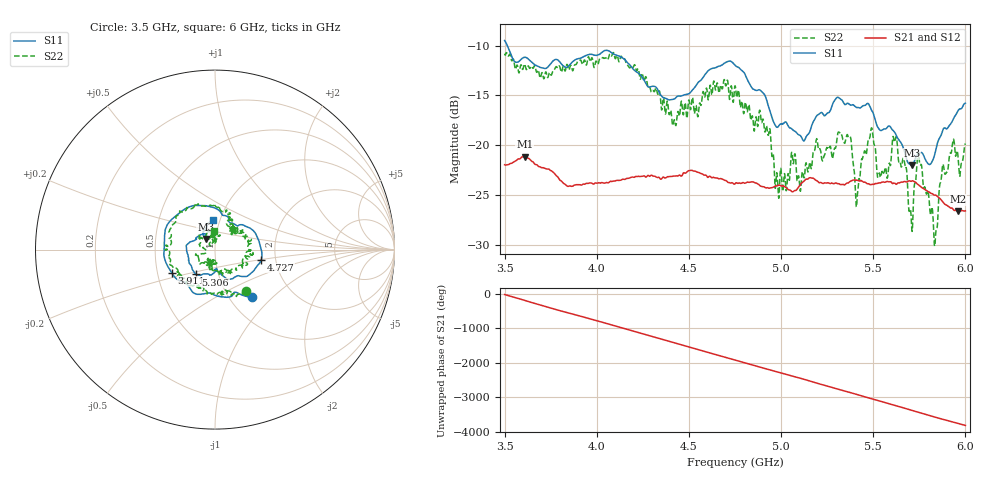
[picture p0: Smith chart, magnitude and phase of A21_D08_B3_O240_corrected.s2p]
! Created with skrf 1.9.0 (http://scikit-rf.org).
# Hz S RI R 50.0
!freq ReS11 ImS11 ReS21 ImS21 ReS12 ImS12 ReS22 ImS22
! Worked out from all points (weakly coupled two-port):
!   1601 points, 3.5 GHz to 6 GHz, reference 50 ohm
!   highest |S21| = -21.16 dB at 3.609 GHz (marker M1); lowest = -26.7 dB at 5.959 GHz (marker M2)
!   lowest |S11| = -22.0 dB at 5.711 GHz (marker M3), VSWR 1.17, Z = 44.8 + j5.38 ohm
!   |S11| at or under -10 dB: 3.515 GHz to end of sweep
!   |S22| runs from -30.2 to -10.7 dB; largest |S21 - S12| = 0.001
!   S11 on the Smith chart (normalised r, x): 3.5 GHz: 1.27, -0.76; 3.911 GHz: 0.59, -0.17; 4.727 GHz: 1.68, -0.20; 5.306 GHz: 0.78, -0.22; 6 GHz: 0.93, +0.31
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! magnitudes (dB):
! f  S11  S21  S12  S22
! 3.5 GHz  -9.5  -22.0  -21.9  -10.8
! 3.609 GHz  -11.2  -21.2  -21.2  -11.9
! 3.911 GHz  -11.3  -24.0  -24.0  -11.4
! 3.917 GHz  -11.2  -24.0  -24.0  -11.6
! 4.334 GHz  -14.5  -23.2  -23.2  -14.8
! 4.727 GHz  -11.6  -23.8  -23.7  -14.4
! 4.75 GHz  -12.0  -23.9  -23.8  -14.0
! 4.931 GHz  -16.1  -24.3  -24.3  -19.0
! 4.978 GHz  -18.2  -24.1  -24.1  -22.9
! 5.167 GHz  -18.0  -23.3  -23.3  -22.0
! 5.306 GHz  -15.2  -23.9  -23.8  -19.0
! 5.37 GHz  -15.9  -23.7  -23.7  -19.2
! 5.412 GHz  -16.2  -23.5  -23.5  -25.3
! 5.486 GHz  -16.3  -24.0  -24.0  -18.7
! 5.584 GHz  -18.1  -23.7  -23.7  -22.1
! 5.619 GHz  -18.8  -23.9  -23.9  -19.6
! 5.711 GHz  -22.0  -23.6  -23.6  -28.7
! 5.75 GHz  -20.8  -24.1  -24.1  -21.6
! 5.838 GHz  -20.6  -25.0  -25.0  -29.2
! 5.872 GHz  -18.8  -25.6  -25.6  -22.9
! 5.959 GHz  -16.6  -26.7  -26.6  -21.0
! 6 GHz  -15.8  -26.6  -26.6  -19.8
